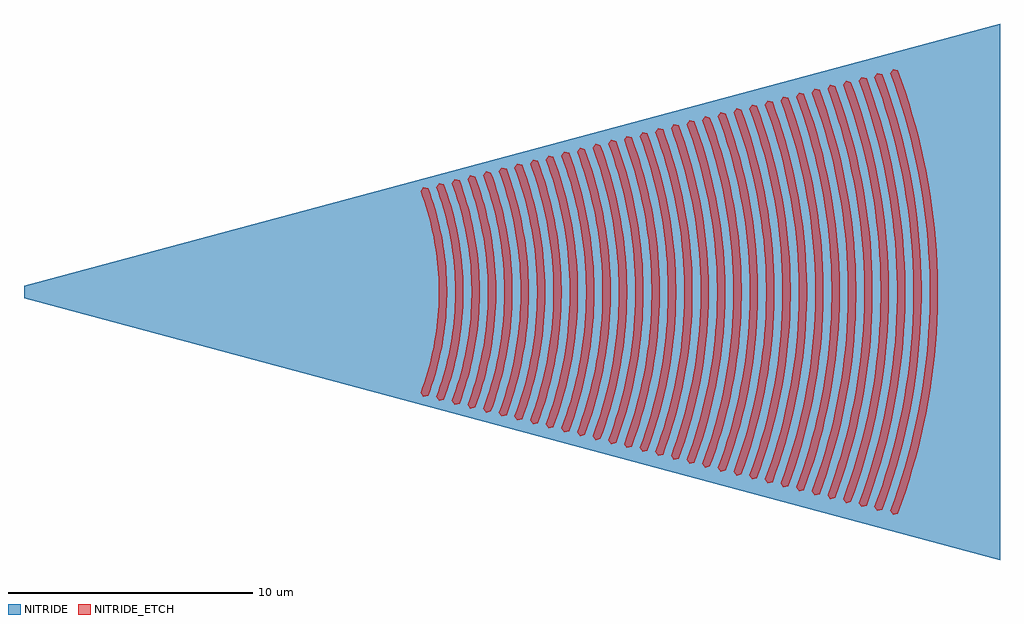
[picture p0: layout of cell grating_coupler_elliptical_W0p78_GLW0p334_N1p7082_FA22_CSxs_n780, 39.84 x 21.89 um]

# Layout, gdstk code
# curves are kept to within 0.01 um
import gdstk
lib = gdstk.Library(unit=1e-6, precision=1e-09)
def P(c, l, *ps):  # polygons
    for p in ps: c.add(gdstk.Polygon(p, *l))
NITRIDE = (203, 0)
NITRIDE_ETCH = (204, 0)

grating_coupler_elliptic = lib.new_cell('grating_coupler_elliptical_W0p78_GLW0p334_N1p7082_FA22_CSxs_n780')
P(grating_coupler_elliptic, NITRIDE, [(40.107,-10.943),(0.267,-0.25),(0.267,0.25),(40.107,10.943)])
P(grating_coupler_elliptic, NITRIDE_ETCH, [(16.574,-4.28),(16.455,-4.118),(16.666,-3.502),(16.787,-3.087),(16.893,-2.669),(17.023,-2.035),(17.09,-1.609),(17.161,-0.967),(17.2,-0.107),(17.196,0.322),(17.161,0.967),(17.09,1.609),(17.023,2.035),(16.893,2.669),(16.787,3.087),(16.666,3.502),(16.455,4.118),(16.574,4.28),(16.769,4.232),(17.049,3.389),(17.219,2.745),(17.351,2.093),(17.449,1.436),(17.51,0.774),(17.534,0.111),(17.51,-0.774),(17.449,-1.436),(17.351,-2.093),(17.219,-2.745),(17.049,-3.389),(16.769,-4.232)],
  [(17.213,-4.44),(17.094,-4.278),(17.378,-3.424),(17.496,-2.991),(17.643,-2.335),(17.754,-1.672),(17.807,-1.228),(17.856,-0.558),(17.868,-0.112),(17.843,0.782),(17.754,1.672),(17.643,2.335),(17.496,2.991),(17.313,3.639),(17.094,4.278),(17.213,4.44),(17.408,4.392),(17.698,3.518),(17.875,2.849),(18.012,2.172),(18.114,1.49),(18.177,0.804),(18.202,0.114),(18.19,-0.574),(18.139,-1.262),(18.051,-1.946),(17.924,-2.624),(17.698,-3.518),(17.408,-4.392)],
  [(17.852,-4.601),(17.733,-4.44),(17.889,-3.997),(18.091,-3.328),(18.256,-2.65),(18.345,-2.194),(18.473,-1.274),(18.511,-0.811),(18.536,-0.117),(18.511,0.811),(18.418,1.735),(18.302,2.422),(18.15,3.103),(17.96,3.775),(17.733,4.44),(17.852,4.601),(18.047,4.552),(18.348,3.646),(18.53,2.953),(18.673,2.252),(18.779,1.545),(18.845,0.833),(18.87,0.119),(18.857,-0.594),(18.805,-1.308),(18.713,-2.017),(18.582,-2.72),(18.348,-3.646),(18.047,-4.552)],
  [(18.491,-4.761),(18.372,-4.599),(18.534,-4.142),(18.743,-3.449),(18.962,-2.51),(19.046,-2.036),(19.138,-1.32),(19.178,-0.841),(19.204,-0.121),(19.178,0.841),(19.081,1.798),(18.962,2.51),(18.804,3.215),(18.608,3.912),(18.372,4.599),(18.491,4.761),(18.686,4.713),(18.926,4.012),(19.186,3.057),(19.334,2.331),(19.443,1.599),(19.512,0.863),(19.538,0.123),(19.525,-0.616),(19.47,-1.354),(19.376,-2.088),(19.24,-2.816),(18.997,-3.775),(18.686,-4.713)],
  [(19.13,-4.922),(19.011,-4.76),(19.255,-4.048),(19.395,-3.569),(19.572,-2.842),(19.667,-2.353),(19.745,-1.86),(19.827,-1.118),(19.872,-0.125),(19.845,0.87),(19.745,1.86),(19.621,2.598),(19.458,3.328),(19.255,4.048),(19.011,4.76),(19.13,4.922),(19.325,4.874),(19.647,3.903),(19.898,2.912),(20.038,2.159),(20.108,1.654),(20.179,0.892),(20.206,0.127),(20.193,-0.637),(20.136,-1.4),(20.038,-2.159),(19.898,-2.912),(19.647,-3.903),(19.325,-4.874)],
  [(19.768,-5.082),(19.649,-4.92),(19.902,-4.185),(20.112,-3.44),(20.281,-2.685),(20.37,-2.178),(20.494,-1.156),(20.54,-0.129),(20.536,0.386),(20.512,0.899),(20.409,1.923),(20.281,2.685),(20.112,3.44),(19.902,4.185),(19.649,4.92),(19.768,5.082),(19.963,5.034),(20.22,4.285),(20.498,3.265),(20.656,2.49),(20.773,1.708),(20.846,0.921),(20.874,0.131),(20.86,-0.658),(20.802,-1.446),(20.7,-2.23),(20.555,-3.008),(20.436,-3.522),(20.296,-4.032),(20.139,-4.537),(19.963,-5.034)],
  [(20.407,-5.243),(20.288,-5.081),(20.549,-4.322),(20.766,-3.552),(20.887,-3.034),(21.033,-2.249),(21.16,-1.194),(21.194,-0.664),(21.208,-0.132),(21.194,0.664),(21.16,1.194),(21.033,2.249),(20.887,3.034),(20.766,3.552),(20.549,4.322),(20.288,5.081),(20.407,5.243),(20.602,5.195),(20.946,4.16),(21.09,3.634),(21.213,3.104),(21.363,2.301),(21.438,1.762),(21.513,0.951),(21.542,0.136),(21.528,-0.678),(21.467,-1.492),(21.363,-2.301),(21.213,-3.104),(21.09,-3.634),(20.946,-4.16),(20.602,-5.195)],
  [(21.046,-5.404),(20.927,-5.242),(21.196,-4.458),(21.42,-3.664),(21.545,-3.13),(21.695,-2.32),(21.826,-1.231),(21.876,-0.137),(21.871,0.411),(21.846,0.958),(21.736,2.049),(21.6,2.861),(21.42,3.664),(21.196,4.458),(20.927,5.242),(21.046,5.404),(21.241,5.356),(21.428,4.826),(21.596,4.289),(21.744,3.746),(21.871,3.2),(22.025,2.372),(22.133,1.538),(22.18,0.98),(22.21,0.141),(22.195,-0.7),(22.133,-1.538),(22.025,-2.372),(21.871,-3.2),(21.744,-3.746),(21.596,-4.289),(21.428,-4.826),(21.241,-5.356)],
  [(21.685,-5.564),(21.566,-5.402),(21.756,-4.865),(22.002,-4.051),(22.203,-3.225),(22.358,-2.391),(22.493,-1.269),(22.529,-0.705),(22.544,-0.142),(22.529,0.705),(22.493,1.269),(22.358,2.391),(22.203,3.225),(22.002,4.051),(21.756,4.865),(21.566,5.402),(21.685,5.564),(21.88,5.516),(22.072,4.971),(22.245,4.417),(22.398,3.859),(22.529,3.295),(22.688,2.443),(22.799,1.584),(22.863,0.721),(22.878,0.144),(22.863,-0.721),(22.799,-1.584),(22.688,-2.443),(22.529,-3.295),(22.398,-3.859),(22.245,-4.417),(22.072,-4.971),(21.88,-5.516)],
  [(22.324,-5.725),(22.205,-5.563),(22.49,-4.731),(22.654,-4.171),(22.861,-3.321),(23.02,-2.462),(23.1,-1.886),(23.159,-1.307),(23.196,-0.726),(23.212,-0.146),(23.207,0.436),(23.159,1.307),(23.1,1.886),(23.02,2.462),(22.861,3.321),(22.654,4.171),(22.49,4.731),(22.205,5.563),(22.324,5.725),(22.519,5.677),(22.718,5.115),(22.895,4.546),(23.052,3.971),(23.187,3.391),(23.301,2.808),(23.432,1.926),(23.514,1.039),(23.546,0.148),(23.53,-0.742),(23.464,-1.631),(23.35,-2.514),(23.187,-3.391),(23.052,-3.971),(22.895,-4.546),(22.718,-5.115),(22.519,-5.677)],
  [(22.963,-5.885),(22.844,-5.723),(23.137,-4.868),(23.306,-4.292),(23.519,-3.417),(23.683,-2.533),(23.765,-1.94),(23.826,-1.345),(23.864,-0.747),(23.88,-0.15),(23.875,0.449),(23.826,1.345),(23.765,1.94),(23.683,2.533),(23.519,3.417),(23.306,4.292),(23.137,4.868),(22.844,5.723),(22.963,5.885),(23.158,5.837),(23.362,5.26),(23.544,4.674),(23.706,4.083),(23.845,3.487),(24.013,2.585),(24.097,1.98),(24.181,1.068),(24.214,0.152),(24.198,-0.763),(24.13,-1.677),(24.013,-2.585),(23.845,-3.487),(23.706,-4.083),(23.544,-4.674),(23.362,-5.26),(23.158,-5.837)],
  [(23.602,-6.046),(23.483,-5.884),(23.784,-5.005),(24.036,-4.114),(24.238,-3.211),(24.345,-2.605),(24.429,-1.995),(24.492,-1.382),(24.531,-0.768),(24.548,-0.154),(24.543,0.461),(24.492,1.382),(24.429,1.995),(24.345,2.605),(24.238,3.211),(24.036,4.114),(23.784,5.005),(23.483,5.884),(23.602,6.046),(23.797,5.998),(24.007,5.404),(24.194,4.803),(24.36,4.196),(24.502,3.583),(24.675,2.657),(24.796,1.723),(24.848,1.097),(24.882,0.156),(24.865,-0.784),(24.796,-1.723),(24.675,-2.657),(24.566,-3.275),(24.434,-3.89),(24.279,-4.5),(24.102,-5.105),(23.904,-5.703),(23.797,-5.998)],
  [(24.241,-6.206),(24.122,-6.044),(24.432,-5.141),(24.69,-4.226),(24.834,-3.609),(25.007,-2.676),(25.094,-2.049),(25.159,-1.42),(25.199,-0.789),(25.216,-0.158),(25.199,0.789),(25.159,1.42),(25.094,2.049),(25.007,2.676),(24.834,3.609),(24.69,4.226),(24.432,5.141),(24.122,6.044),(24.241,6.206),(24.436,6.158),(24.65,5.549),(24.843,4.932),(25.014,4.308),(25.16,3.679),(25.284,3.046),(25.426,2.089),(25.515,1.127),(25.55,0.162),(25.533,-0.805),(25.491,-1.448),(25.384,-2.409),(25.225,-3.363),(25.09,-3.994),(24.931,-4.62),(24.75,-5.241),(24.546,-5.855),(24.436,-6.158)],
  [(24.88,-6.367),(24.761,-6.205),(25.079,-5.278),(25.344,-4.338),(25.492,-3.705),(25.67,-2.747),(25.759,-2.104),(25.825,-1.458),(25.866,-0.81),(25.884,-0.162),(25.878,0.486),(25.825,1.458),(25.759,2.104),(25.67,2.747),(25.492,3.705),(25.344,4.338),(25.079,5.278),(24.761,6.205),(24.88,6.367),(25.075,6.319),(25.295,5.694),(25.493,5.06),(25.668,4.42),(25.818,3.775),(26,2.799),(26.091,2.144),(26.182,1.156),(26.218,0.166),(26.2,-0.826),(26.127,-1.815),(26,-2.799),(25.885,-3.451),(25.746,-4.098),(25.583,-4.741),(25.397,-5.378),(25.187,-6.008),(25.075,-6.319)],
  [(25.519,-6.527),(25.4,-6.365),(25.726,-5.414),(25.998,-4.45),(26.15,-3.801),(26.332,-2.818),(26.424,-2.158),(26.491,-1.496),(26.534,-0.831),(26.552,-0.167),(26.534,0.831),(26.491,1.496),(26.424,2.158),(26.332,2.818),(26.15,3.801),(25.998,4.45),(25.726,5.414),(25.4,6.365),(25.519,6.527),(25.714,6.479),(25.83,6.16),(26.044,5.514),(26.235,4.861),(26.476,3.871),(26.606,3.205),(26.756,2.198),(26.849,1.186),(26.886,0.169),(26.868,-0.847),(26.793,-1.861),(26.712,-2.534),(26.544,-3.538),(26.402,-4.202),(26.235,-4.861),(26.044,-5.514),(25.83,-6.16),(25.714,-6.479)],
  [(26.158,-6.688),(26.039,-6.526),(26.373,-5.551),(26.565,-4.894),(26.808,-3.897),(26.995,-2.889),(27.088,-2.212),(27.158,-1.533),(27.201,-0.852),(27.22,-0.171),(27.214,0.511),(27.158,1.533),(27.088,2.212),(26.995,2.889),(26.808,3.897),(26.565,4.894),(26.373,5.551),(26.039,6.526),(26.158,6.688),(26.353,6.64),(26.472,6.313),(26.691,5.651),(26.887,4.982),(27.134,3.967),(27.325,2.941),(27.42,2.252),(27.516,1.215),(27.554,0.173),(27.548,-0.521),(27.49,-1.561),(27.375,-2.597),(27.204,-3.626),(26.976,-4.645),(26.792,-5.317),(26.585,-5.983),(26.353,-6.64)],
  [(26.797,-6.849),(26.678,-6.687),(27.02,-5.688),(27.217,-5.014),(27.466,-3.993),(27.657,-2.96),(27.753,-2.267),(27.824,-1.571),(27.869,-0.873),(27.888,-0.175),(27.882,0.524),(27.824,1.571),(27.753,2.267),(27.657,2.96),(27.466,3.993),(27.217,5.014),(27.02,5.688),(26.678,6.687),(26.797,6.849),(26.992,6.801),(27.114,6.465),(27.442,5.446),(27.63,4.757),(27.792,4.063),(27.987,3.012),(28.085,2.307),(28.183,1.244),(28.222,0.177),(28.203,-0.889),(28.124,-1.953),(27.987,-3.012),(27.863,-3.714),(27.63,-4.757),(27.442,-5.446),(27.229,-6.128),(26.992,-6.801)],
  [(27.436,-7.009),(27.317,-6.847),(27.557,-6.166),(27.869,-5.135),(28.123,-4.089),(28.32,-3.031),(28.418,-2.321),(28.491,-1.609),(28.536,-0.894),(28.556,-0.179),(28.55,0.536),(28.491,1.609),(28.418,2.321),(28.32,3.031),(28.123,4.089),(27.869,5.135),(27.557,6.166),(27.317,6.847),(27.436,7.009),(27.631,6.961),(27.755,6.618),(27.985,5.924),(28.191,5.223),(28.449,4.159),(28.65,3.083),(28.75,2.361),(28.85,1.274),(28.89,0.181),(28.87,-0.91),(28.79,-1.999),(28.65,-3.083),(28.523,-3.801),(28.37,-4.515),(28.191,-5.223),(27.873,-6.272),(27.631,-6.961)],
  [(28.074,-7.17),(27.955,-7.008),(28.314,-5.961),(28.614,-4.9),(28.781,-4.184),(28.982,-3.102),(29.083,-2.376),(29.157,-1.647),(29.204,-0.915),(29.224,-0.183),(29.204,0.915),(29.157,1.647),(29.083,2.376),(28.982,3.102),(28.781,4.184),(28.614,4.9),(28.314,5.961),(27.955,7.008),(28.074,7.17),(28.269,7.122),(28.396,6.771),(28.741,5.703),(28.938,4.982),(29.107,4.254),(29.312,3.154),(29.415,2.416),(29.517,1.303),(29.558,0.187),(29.538,-0.931),(29.455,-2.045),(29.312,-3.154),(29.182,-3.889),(28.938,-4.982),(28.741,-5.703),(28.518,-6.417),(28.269,-7.122)],
  [(28.713,-7.33),(28.594,-7.168),(28.961,-6.098),(29.172,-5.375),(29.439,-4.28),(29.583,-3.543),(29.7,-2.802),(29.824,-1.684),(29.871,-0.936),(29.892,-0.187),(29.885,0.562),(29.824,1.684),(29.747,2.43),(29.644,3.173),(29.439,4.28),(29.268,5.012),(28.961,6.098),(28.594,7.168),(28.713,7.33),(28.908,7.282),(29.038,6.924),(29.279,6.198),(29.494,5.463),(29.765,4.35),(29.974,3.225),(30.121,2.092),(30.205,0.952),(30.226,0.191),(30.205,-0.952),(30.121,-2.092),(30.03,-2.848),(29.842,-3.976),(29.592,-5.094),(29.39,-5.831),(29.163,-6.562),(28.908,-7.282)],
  [(29.352,-7.491),(29.233,-7.329),(29.609,-6.234),(29.922,-5.124),(30.097,-4.376),(30.307,-3.244),(30.412,-2.485),(30.49,-1.722),(30.539,-0.957),(30.56,-0.191),(30.539,0.957),(30.49,1.722),(30.412,2.485),(30.307,3.244),(30.097,4.376),(29.922,5.124),(29.609,6.234),(29.233,7.329),(29.352,7.491),(29.547,7.443),(29.68,7.077),(30.04,5.96),(30.246,5.206),(30.423,4.446),(30.637,3.296),(30.787,2.138),(30.873,0.973),(30.894,0.195),(30.873,-0.973),(30.787,-2.138),(30.637,-3.296),(30.501,-4.064),(30.246,-5.206),(30.04,-5.96),(29.807,-6.706),(29.547,-7.443)],
  [(29.991,-7.651),(29.872,-7.489),(30.256,-6.371),(30.476,-5.616),(30.755,-4.472),(30.905,-3.702),(31.027,-2.928),(31.157,-1.76),(31.206,-0.978),(31.228,-0.196),(31.221,0.587),(31.157,1.76),(31.077,2.539),(30.969,3.316),(30.755,4.472),(30.576,5.236),(30.256,6.371),(29.872,7.489),(29.991,7.651),(30.186,7.603),(30.322,7.229),(30.574,6.471),(30.798,5.704),(31.081,4.542),(31.299,3.368),(31.409,2.579),(31.519,1.391),(31.562,0.198),(31.555,-0.597),(31.489,-1.788),(31.357,-2.974),(31.161,-4.152),(30.9,-5.318),(30.689,-6.088),(30.451,-6.851),(30.186,-7.603)],
  [(30.63,-7.812),(30.511,-7.65),(30.78,-6.89),(31.128,-5.737),(31.412,-4.568),(31.632,-3.387),(31.742,-2.594),(31.823,-1.797),(31.874,-0.999),(31.896,-0.2),(31.889,0.599),(31.823,1.797),(31.742,2.594),(31.632,3.387),(31.412,4.568),(31.128,5.737),(30.78,6.89),(30.511,7.65),(30.63,7.812),(30.825,7.764),(30.963,7.382),(31.221,6.607),(31.45,5.825),(31.738,4.638),(31.962,3.439),(32.074,2.634),(32.186,1.42),(32.23,0.202),(32.208,-1.015),(32.118,-2.23),(31.962,-3.439),(31.82,-4.239),(31.554,-5.431),(31.339,-6.217),(31.096,-6.996),(30.825,-7.764)],
  [(31.269,-7.972),(31.15,-7.81),(31.55,-6.644),(31.78,-5.857),(32.07,-4.664),(32.227,-3.861),(32.354,-3.053),(32.452,-2.242),(32.519,-1.428),(32.564,-0.204),(32.541,1.02),(32.489,1.835),(32.406,2.648),(32.294,3.458),(32.07,4.664),(31.78,5.857),(31.55,6.644),(31.15,7.81),(31.269,7.972),(31.464,7.924),(31.606,7.535),(31.868,6.744),(32.102,5.945),(32.396,4.734),(32.624,3.51),(32.784,2.276),(32.853,1.45),(32.898,0.208),(32.875,-1.036),(32.784,-2.276),(32.624,-3.51),(32.48,-4.327),(32.208,-5.543),(31.988,-6.346),(31.74,-7.14),(31.464,-7.924)],
  [(31.908,-8.133),(31.789,-7.971),(32.069,-7.179),(32.432,-5.978),(32.728,-4.76),(32.957,-3.529),(33.071,-2.703),(33.156,-1.873),(33.209,-1.041),(33.232,-0.208),(33.209,1.041),(33.156,1.873),(33.071,2.703),(32.957,3.529),(32.728,4.76),(32.432,5.978),(32.069,7.179),(31.789,7.971),(31.908,8.133),(32.103,8.085),(32.247,7.687),(32.515,6.881),(32.754,6.066),(33.054,4.83),(33.287,3.581),(33.403,2.743),(33.52,1.479),(33.566,0.212),(33.543,-1.057),(33.488,-1.901),(33.348,-3.162),(33.14,-4.415),(32.962,-5.243),(32.754,-6.066),(32.385,-7.285),(32.103,-8.085)],
  [(32.547,-8.294),(32.428,-8.132),(32.844,-6.917),(33.083,-6.098),(33.386,-4.856),(33.549,-4.02),(33.682,-3.179),(33.822,-1.911),(33.876,-1.062),(33.9,-0.212),(33.892,0.637),(33.822,1.911),(33.736,2.757),(33.619,3.6),(33.386,4.856),(33.192,5.686),(32.844,6.917),(32.428,8.132),(32.547,8.294),(32.742,8.246),(32.89,7.839),(33.288,6.603),(33.516,5.768),(33.712,4.926),(33.949,3.652),(34.068,2.797),(34.187,1.509),(34.234,0.216),(34.21,-1.078),(34.115,-2.368),(33.949,-3.652),(33.799,-4.502),(33.516,-5.768),(33.288,-6.603),(33.03,-7.43),(32.742,-8.246)],
  [(33.186,-8.454),(33.067,-8.292),(33.491,-7.054),(33.735,-6.219),(34.044,-4.952),(34.21,-4.099),(34.401,-2.811),(34.489,-1.948),(34.544,-1.083),(34.568,-0.216),(34.56,0.65),(34.489,1.948),(34.401,2.811),(34.281,3.671),(34.044,4.952),(33.846,5.798),(33.491,7.054),(33.067,8.292),(33.186,8.454),(33.381,8.406),(33.532,7.992),(33.809,7.154),(34.057,6.307),(34.37,5.022),(34.611,3.723),(34.733,2.851),(34.854,1.538),(34.902,0.22),(34.878,-1.099),(34.781,-2.414),(34.611,-3.723),(34.459,-4.59),(34.17,-5.88),(33.937,-6.731),(33.675,-7.574),(33.381,-8.406)],
  [(33.825,-8.615),(33.706,-8.453),(34.002,-7.613),(34.387,-6.339),(34.702,-5.047),(34.871,-4.179),(35.009,-3.305),(35.155,-1.986),(35.211,-1.104),(35.236,-0.22),(35.228,0.662),(35.155,1.986),(35.065,2.866),(34.944,3.742),(34.702,5.047),(34.5,5.91),(34.138,7.19),(33.706,8.453),(33.825,8.615),(34.02,8.567),(34.173,8.144),(34.587,6.86),(34.824,5.992),(35.028,5.117),(35.274,3.794),(35.397,2.906),(35.521,1.567),(35.57,0.224),(35.545,-1.12),(35.446,-2.46),(35.274,-3.794),(35.118,-4.678),(34.824,-5.992),(34.587,-6.86),(34.318,-7.719),(34.02,-8.567)],
  [(34.464,-8.775),(34.345,-8.613),(34.786,-7.327),(35.039,-6.459),(35.359,-5.143),(35.533,-4.258),(35.673,-3.367),(35.822,-2.024),(35.879,-1.125),(35.904,-0.226),(35.896,0.675),(35.822,2.024),(35.73,2.92),(35.606,3.813),(35.45,4.701),(35.154,6.023),(34.786,7.327),(34.345,8.613),(34.464,8.775),(34.659,8.727),(34.963,7.864),(35.236,6.988),(35.478,6.105),(35.778,4.765),(36.003,3.413),(36.112,2.506),(36.188,1.597),(36.238,0.228),(36.23,-0.685),(36.154,-2.052),(36.003,-3.413),(35.778,-4.765),(35.478,-6.105),(35.236,-6.988),(34.963,-7.864),(34.659,-8.727)],
  [(35.103,-8.936),(34.984,-8.774),(35.433,-7.464),(35.691,-6.58),(36.017,-5.239),(36.194,-4.337),(36.336,-3.43),(36.446,-2.519),(36.521,-1.604),(36.572,-0.229),(36.563,0.688),(36.488,2.062),(36.395,2.975),(36.269,3.884),(36.017,5.239),(35.808,6.135),(35.433,7.464),(34.984,8.774),(35.103,8.936),(35.298,8.888),(35.457,8.449),(35.751,7.564),(36.013,6.668),(36.343,5.309),(36.599,3.936),(36.727,3.015),(36.855,1.626),(36.906,0.233),(36.88,-1.162),(36.778,-2.553),(36.599,-3.936),(36.437,-4.853),(36.132,-6.217),(35.886,-7.117),(35.607,-8.008),(35.298,-8.888)],
  [(35.741,-9.096),(35.622,-8.934),(35.936,-8.047),(36.343,-6.7),(36.675,-5.335),(36.855,-4.417),(37,-3.493),(37.154,-2.099),(37.214,-1.167),(37.24,-0.233),(37.214,1.167),(37.154,2.099),(37.059,3.029),(36.931,3.955),(36.675,5.335),(36.343,6.7),(35.936,8.047),(35.622,8.934),(35.741,9.096),(35.936,9.048),(36.252,8.153),(36.665,6.788),(37.001,5.405),(37.183,4.475),(37.391,3.069),(37.522,1.655),(37.574,0.237),(37.548,-1.183),(37.443,-2.599),(37.261,-4.007),(37.097,-4.941),(36.786,-6.329),(36.535,-7.245),(36.252,-8.153),(35.936,-9.048)])

lib.write_gds('grating_coupler_elliptical_W0p78_GLW0p334_N1p7082_FA22_CSxs_n780.gds')
